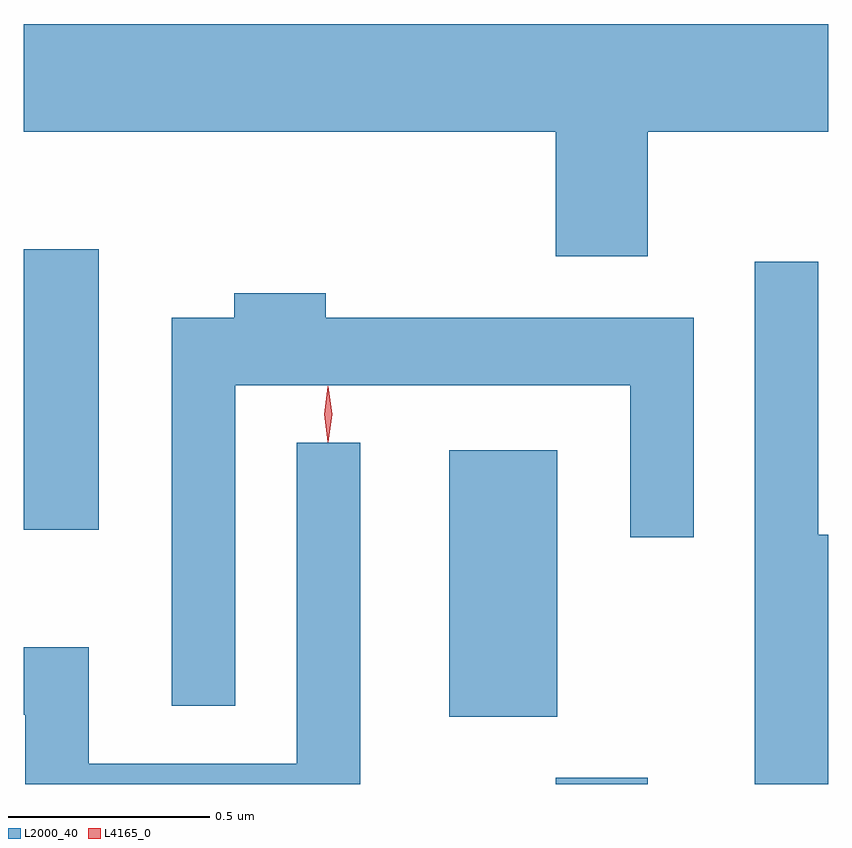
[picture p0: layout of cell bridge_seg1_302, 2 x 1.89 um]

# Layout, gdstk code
import gdstk
lib = gdstk.Library(unit=1e-6, precision=1e-09)
def R(c, l, rs):  # rectangles x0, y0, x1, y1
    for r in rs: c.add(gdstk.rectangle(r[:2], r[2:], *l))
def P(c, l, *ps):  # polygons
    for p in ps: c.add(gdstk.Polygon(p, *l))
L2000_40 = (2000, 40)
L4165_0 = (4165, 0)

bridge_seg1_302 = lib.new_cell('bridge_seg1_302')
R(bridge_seg1_302, L2000_40, [(851.551,897.954,851.779,897.969), (851.286,898.121,851.554,898.784), (850.228,898.586,850.414,899.284)])
P(bridge_seg1_302, L2000_40, [(851.779,899.576),(852.228,899.576),(852.228,899.844),(850.228,899.844),(850.228,899.576),(851.551,899.576),(851.551,899.266),(851.779,899.266)],
  [(852.228,898.574),(852.204,898.574),(852.204,899.253),(852.046,899.253),(852.046,897.954),(852.228,897.954)],
  [(850.754,898.946),(851.736,898.946),(851.736,898.568),(851.894,898.568),(851.894,899.114),(850.979,899.114),(850.979,899.174),(850.751,899.174),(850.751,899.114),(850.596,899.114),(850.596,898.148),(850.754,898.148)],
  [(851.064,898.803),(850.906,898.803),(850.906,898.004),(850.389,898.004),(850.389,898.294),(850.228,898.294),(850.228,898.126),(850.231,898.126),(850.231,897.954),(851.064,897.954)])
P(bridge_seg1_302, L4165_0, [(850.984,898.807),(850.975,898.874),(850.984,898.94),(850.985,898.941),(850.985,898.94),(850.995,898.874),(850.985,898.807),(850.985,898.807)],
  [(850.984,898.804),(850.975,898.873),(850.984,898.943),(850.985,898.943),(850.985,898.943),(850.995,898.873),(850.985,898.804),(850.985,898.804)])

lib.write_gds('bridge_seg1_302.gds')
